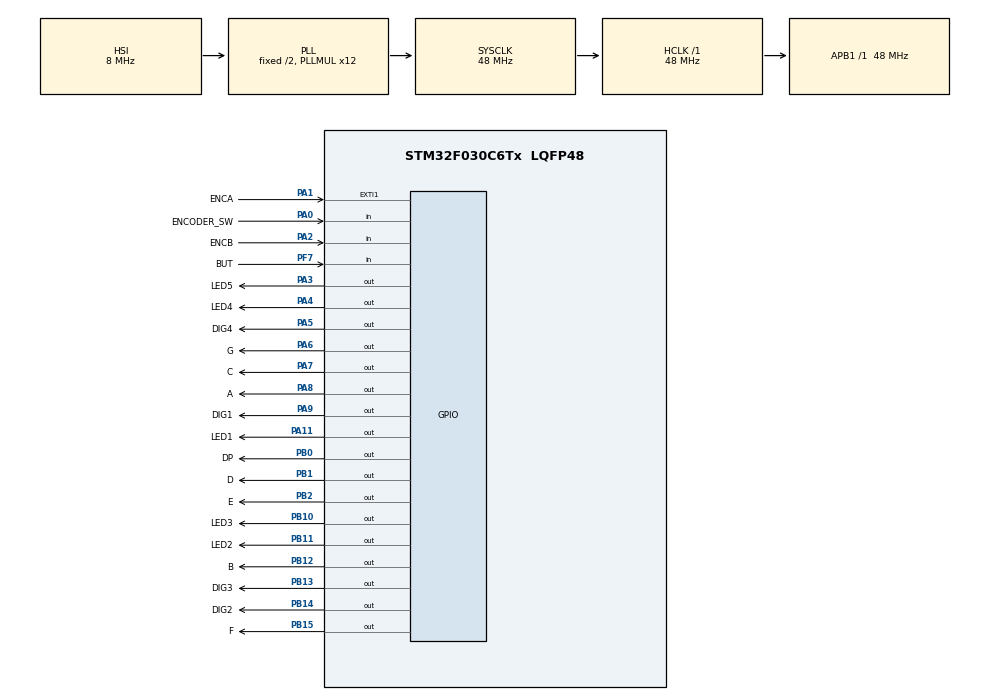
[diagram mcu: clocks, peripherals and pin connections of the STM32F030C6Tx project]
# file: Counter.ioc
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Mcu.Family=STM32F0
Mcu.Name=STM32F030C6Tx
Mcu.Package=LQFP48
NVIC.EXTI0_1_IRQn=true\:0\:0\:false\:false\:true\:true\:true\:true
PA0.GPIO_Label=ENCODER_SW
PA0.Signal=GPIO_Input
PA1.GPIO_Label=ENCA
PA1.GPIO_ModeDefaultEXTI=GPIO_MODE_IT_RISING_FALLING
PA1.Signal=GPXTI1
PA11.GPIO_Label=LED1
PA11.Signal=GPIO_Output
PA13.Mode=Serial_Wire
PA13.Signal=SYS_SWDIO
PA14.Mode=Serial_Wire
PA14.Signal=SYS_SWCLK
PA2.GPIO_Label=ENCB
PA2.Signal=GPIO_Input
PA3.GPIO_Label=LED5
PA3.Signal=GPIO_Output
PA4.GPIO_Label=LED4
PA4.Signal=GPIO_Output
PA5.GPIO_Label=DIG4
PA5.Signal=GPIO_Output
PA6.GPIO_Label=G
PA6.Signal=GPIO_Output
PA7.GPIO_Label=C
PA7.Signal=GPIO_Output
PA8.GPIO_Label=A
PA8.Signal=GPIO_Output
PA9.GPIO_Label=DIG1
PA9.Signal=GPIO_Output
PB0.GPIO_Label=DP
PB0.Signal=GPIO_Output
PB1.GPIO_Label=D
PB1.Signal=GPIO_Output
PB10.GPIO_Label=LED3
PB10.Signal=GPIO_Output
PB11.GPIO_Label=LED2
PB11.Signal=GPIO_Output
PB12.GPIO_Label=B
PB12.Signal=GPIO_Output
PB13.GPIO_Label=DIG3
PB13.Signal=GPIO_Output
PB14.GPIO_Label=DIG2
PB14.Signal=GPIO_Output
PB15.GPIO_Label=F
PB15.Signal=GPIO_Output
PB2.GPIO_Label=E
PB2.Signal=GPIO_Output
PF0-OSC_IN.Mode=HSE-External-Oscillator
PF0-OSC_IN.Signal=RCC_OSC_IN
PF1-OSC_OUT.Mode=HSE-External-Oscillator
PF1-OSC_OUT.Signal=RCC_OSC_OUT
PF7.GPIO_Label=BUT
PF7.Signal=GPIO_Input
ProjectManager.HeapSize=0x200
ProjectManager.StackSize=0x400
ProjectManager.TargetToolchain=STM32CubeIDE
RCC.AHBFreq_Value=48000000
RCC.APB1Freq_Value=48000000
RCC.APB1TimFreq_Value=48000000
RCC.HCLKFreq_Value=48000000
RCC.PLLMUL=RCC_PLL_MUL12
RCC.SYSCLKFreq_VALUE=48000000
RCC.SYSCLKSource=RCC_SYSCLKSOURCE_PLLCLK
board=custom

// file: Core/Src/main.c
/* USER CODE BEGIN Header */
/**
  ******************************************************************************
  * @file           : main.c
  * @brief          : Main program body
  ******************************************************************************
  * @attention
  *
  * Copyright (c) 2022 STMicroelectronics.
  * All rights reserved.
  *
  * This software is licensed under terms that can be found in the LICENSE file
  * in the root directory of this software component.
  * If no LICENSE file comes with this software, it is provided AS-IS.
  *
  ******************************************************************************
  */
/* USER CODE END Header */
#include "main.h"

void SystemClock_Config(void);
static void MX_GPIO_Init(void);

int main(void)
{

  /* MCU Configuration--------------------------------------------------------*/

  /* Reset of all peripherals, Initializes the Flash interface and the Systick. */
  HAL_Init();

  /* Configure the system clock */
  SystemClock_Config();

  /* Initialize all configured peripherals */
  MX_GPIO_Init();
  /* USER CODE BEGIN 2 */
  extern int c;
  int x=0;
  int a=1;
  int s=0;
  int q=0;
  int w=0;
  HAL_GPIO_WritePin(GPIOA, LED1_Pin|LED4_Pin|LED5_Pin, GPIO_PIN_SET);
  HAL_GPIO_WritePin(GPIOB, LED3_Pin|LED2_Pin, GPIO_PIN_SET);
  /* USER CODE END 2 */

  /* Infinite loop */
  /* USER CODE BEGIN WHILE */
  while (1)
  {
	  if(a==6){
	  		  a=1;
	  	  	  }
	  	  	 if(s==0)
	  	  	 {
	  	  		HAL_GPIO_WritePin(GPIOA, A_Pin|C_Pin|G_Pin, GPIO_PIN_RESET);
	  	  		HAL_GPIO_WritePin(GPIOB, F_Pin|B_Pin|E_Pin|D_Pin|DP_Pin, GPIO_PIN_RESET);
	  	  		HAL_GPIO_WritePin(GPIOB, DIG2_Pin|DIG3_Pin, GPIO_PIN_RESET);
	  	  		HAL_GPIO_WritePin(GPIOA, DIG4_Pin|DIG1_Pin, GPIO_PIN_RESET);
	  	  		HAL_GPIO_WritePin(GPIOA, DIG1_Pin, GPIO_PIN_SET);
	  	  		HAL_GPIO_WritePin(GPIOA, A_Pin|C_Pin|G_Pin, GPIO_PIN_SET);
	  	  		HAL_GPIO_WritePin(GPIOB, F_Pin|B_Pin|E_Pin|D_Pin, GPIO_PIN_SET);
	  	  		HAL_Delay(250);
	  	  		HAL_GPIO_WritePin(GPIOA, A_Pin|C_Pin|G_Pin, GPIO_PIN_RESET);
	  	  		HAL_GPIO_WritePin(GPIOB, F_Pin|B_Pin|E_Pin|D_Pin|DP_Pin, GPIO_PIN_RESET);
	  	  		HAL_GPIO_WritePin(GPIOB, DIG2_Pin|DIG3_Pin, GPIO_PIN_RESET);
	  	  		HAL_GPIO_WritePin(GPIOA, DIG4_Pin|DIG1_Pin, GPIO_PIN_RESET);
	  	  		HAL_GPIO_WritePin(GPIOB, DIG2_Pin, GPIO_PIN_SET);
	  	  		HAL_GPIO_WritePin(GPIOA, A_Pin|C_Pin|G_Pin, GPIO_PIN_SET);
	  	  		HAL_GPIO_WritePin(GPIOB, F_Pin|B_Pin|E_Pin|D_Pin, GPIO_PIN_SET);
	  	  		HAL_Delay(250);
	  	  		HAL_GPIO_WritePin(GPIOA, A_Pin|C_Pin|G_Pin, GPIO_PIN_RESET);
	  	  		HAL_GPIO_WritePin(GPIOB, F_Pin|B_Pin|E_Pin|D_Pin|DP_Pin, GPIO_PIN_RESET);
	  	  		HAL_GPIO_WritePin(GPIOB, DIG2_Pin|DIG3_Pin, GPIO_PIN_RESET);
	  	  		HAL_GPIO_WritePin(GPIOA, DIG4_Pin|DIG1_Pin, GPIO_PIN_RESET);
	  	  		HAL_GPIO_WritePin(GPIOB, DIG3_Pin, GPIO_PIN_SET);
	  	  		HAL_GPIO_WritePin(GPIOA, A_Pin|C_Pin|G_Pin, GPIO_PIN_SET);
	  	  		HAL_GPIO_WritePin(GPIOB, F_Pin|B_Pin|E_Pin|D_Pin, GPIO_PIN_SET);
	  	  		HAL_Delay(250);
	  	  		HAL_GPIO_WritePin(GPIOA, A_Pin|C_Pin|G_Pin, GPIO_PIN_RESET);
	  	  		HAL_GPIO_WritePin(GPIOB, F_Pin|B_Pin|E_Pin|D_Pin|DP_Pin, GPIO_PIN_RESET);
	  	  		HAL_GPIO_WritePin(GPIOB, DIG2_Pin|DIG3_Pin, GPIO_PIN_RESET);
	  	  		HAL_GPIO_WritePin(GPIOA, DIG4_Pin|DIG1_Pin, GPIO_PIN_RESET);
	  	  		HAL_GPIO_WritePin(GPIOA, DIG4_Pin, GPIO_PIN_SET);
	  	  		HAL_GPIO_WritePin(GPIOA, A_Pin|C_Pin|G_Pin, GPIO_PIN_SET);
	  	  		HAL_GPIO_WritePin(GPIOB, F_Pin|B_Pin|E_Pin|D_Pin, GPIO_PIN_SET);
	  	  		HAL_Delay(250);
	  	  		s++;
	  	  	 }
	  	  if(HAL_GPIO_ReadPin(GPIOF, BUT_Pin)== GPIO_PIN_RESET)
	  	  		  	  {
	  		    HAL_GPIO_WritePin(GPIOB, DIG2_Pin|DIG3_Pin, GPIO_PIN_RESET);
	  	  		HAL_GPIO_WritePin(GPIOA, DIG4_Pin|DIG1_Pin, GPIO_PIN_RESET);
	  	  		q++;
	  	  		HAL_Delay(1000);
	  	  		  		if(HAL_GPIO_ReadPin(GPIOF, BUT_Pin)== GPIO_PIN_RESET){
	  	  	  	  		HAL_GPIO_WritePin(GPIOA, A_Pin|C_Pin|G_Pin, GPIO_PIN_RESET);
	  	  	  	  		HAL_GPIO_WritePin(GPIOB, F_Pin|B_Pin|E_Pin|D_Pin|DP_Pin, GPIO_PIN_RESET);
	  		  	  		HAL_GPIO_WritePin(GPIOB, DIG2_Pin|DIG3_Pin, GPIO_PIN_RESET);
	  		  	  		HAL_GPIO_WritePin(GPIOA, DIG4_Pin|DIG1_Pin, GPIO_PIN_RESET);
	  		  	  		HAL_GPIO_WritePin(GPIOA, DIG1_Pin, GPIO_PIN_SET);
	  		  	  		HAL_GPIO_WritePin(GPIOA, A_Pin|G_Pin, GPIO_PIN_SET);
	  		  	  		HAL_GPIO_WritePin(GPIOB, F_Pin|B_Pin|E_Pin, GPIO_PIN_SET);
	  		  		  	HAL_Delay(250);
	  		  	  		HAL_GPIO_WritePin(GPIOA, A_Pin|C_Pin|G_Pin, GPIO_PIN_RESET);
	  		  	  		HAL_GPIO_WritePin(GPIOB, F_Pin|B_Pin|E_Pin|D_Pin|DP_Pin, GPIO_PIN_RESET);
	  		  	  		HAL_GPIO_WritePin(GPIOB, DIG2_Pin|DIG3_Pin, GPIO_PIN_RESET);
	  		  	  		HAL_GPIO_WritePin(GPIOA, DIG4_Pin|DIG1_Pin, GPIO_PIN_RESET);
	  		  	  		HAL_GPIO_WritePin(GPIOB, DIG2_Pin, GPIO_PIN_SET);
	  		  	  		HAL_GPIO_WritePin(GPIOB, F_Pin|E_Pin|D_Pin, GPIO_PIN_SET);
	  		  		  	HAL_Delay(250);
	  		  	  		HAL_GPIO_WritePin(GPIOA, A_Pin|C_Pin|G_Pin, GPIO_PIN_RESET);
	  		  	  		HAL_GPIO_WritePin(GPIOB, F_Pin|B_Pin|E_Pin|D_Pin|DP_Pin, GPIO_PIN_RESET);
	  		  	  		HAL_GPIO_WritePin(GPIOB, DIG2_Pin|DIG3_Pin, GPIO_PIN_RESET);
	  		  	  		HAL_GPIO_WritePin(GPIOA, DIG4_Pin|DIG1_Pin, GPIO_PIN_RESET);
	  		  	  		HAL_GPIO_WritePin(GPIOB, DIG3_Pin, GPIO_PIN_SET);
	  		  	  		HAL_GPIO_WritePin(GPIOA, C_Pin, GPIO_PIN_SET);
	  		  	  		HAL_GPIO_WritePin(GPIOB, F_Pin|B_Pin|E_Pin|D_Pin, GPIO_PIN_SET);
	  		  		  	HAL_Delay(250);
	  		  	  		HAL_GPIO_WritePin(GPIOA, A_Pin|C_Pin|G_Pin, GPIO_PIN_RESET);
	  		  	  		HAL_GPIO_WritePin(GPIOB, F_Pin|B_Pin|E_Pin|D_Pin|DP_Pin, GPIO_PIN_RESET);
	  		  	  		HAL_GPIO_WritePin(GPIOB, DIG2_Pin|DIG3_Pin, GPIO_PIN_RESET);
	  		  	  		HAL_GPIO_WritePin(GPIOA, DIG4_Pin|DIG1_Pin, GPIO_PIN_RESET);
	  		  	  		HAL_GPIO_WritePin(GPIOA, DIG4_Pin, GPIO_PIN_SET);
	  		  	  		HAL_GPIO_WritePin(GPIOA, A_Pin|C_Pin|G_Pin, GPIO_PIN_SET);
	  		  	  		HAL_GPIO_WritePin(GPIOB, D_Pin|F_Pin, GPIO_PIN_SET);
	  	  		  		HAL_Delay(250);
	  	  		  			a++;
	  	  		  		}
	  	  		  	  }

	  	  if(q>w){
	  		  w++;
	  		  c=0;
	  	  }
      x=c/a;
  HAL_GPIO_WritePin(GPIOA, A_Pin|C_Pin|G_Pin, GPIO_PIN_RESET);
  HAL_GPIO_WritePin(GPIOB, F_Pin|B_Pin|E_Pin|D_Pin|DP_Pin, GPIO_PIN_RESET);
  HAL_GPIO_WritePin(GPIOB, DIG2_Pin|DIG3_Pin, GPIO_PIN_RESET);
  HAL_GPIO_WritePin(GPIOA, DIG4_Pin|DIG1_Pin, GPIO_PIN_RESET);
  HAL_GPIO_WritePin(GPIOA, DIG4_Pin, GPIO_PIN_SET);
  switch(x%10)
  	  	  {
  	  	  case 0:
  	  		HAL_GPIO_WritePin(GPIOA, A_Pin|C_Pin, GPIO_PIN_SET);
  	  		HAL_GPIO_WritePin(GPIOB, F_Pin|B_Pin|E_Pin|D_Pin, GPIO_PIN_SET);

  	  	 	  	  break;
  	  	  case 1:
  	  		HAL_GPIO_WritePin(GPIOA, C_Pin, GPIO_PIN_SET);
  	  		HAL_GPIO_WritePin(GPIOB, B_Pin, GPIO_PIN_SET);
  	  	  	      break;
  	  	  case 2:
  	  		HAL_GPIO_WritePin(GPIOA, A_Pin|G_Pin, GPIO_PIN_SET);
  	  		HAL_GPIO_WritePin(GPIOB, B_Pin|E_Pin|D_Pin, GPIO_PIN_SET);
  	  	  	  	  break;
  	  	  case 3:
  	  		HAL_GPIO_WritePin(GPIOA, A_Pin|C_Pin|G_Pin, GPIO_PIN_SET);
  	  		HAL_GPIO_WritePin(GPIOB, B_Pin|D_Pin, GPIO_PIN_SET);
  	  	 	  	  break;
  	  	  case 4:
  	  		HAL_GPIO_WritePin(GPIOA, C_Pin|G_Pin, GPIO_PIN_SET);
  	  		HAL_GPIO_WritePin(GPIOB, F_Pin|B_Pin, GPIO_PIN_SET);
  	  			break;
  	  	  case 5:
  	  	  	  HAL_GPIO_WritePin(GPIOA, A_Pin|C_Pin|G_Pin, GPIO_PIN_SET);
  	  	  	  HAL_GPIO_WritePin(GPIOB, F_Pin|D_Pin, GPIO_PIN_SET);
  	  	  	  	  break;
  	  	  case 6:
  	  		 HAL_GPIO_WritePin(GPIOA, A_Pin|C_Pin|G_Pin, GPIO_PIN_SET);
  	  		 HAL_GPIO_WritePin(GPIOB, F_Pin|E_Pin|D_Pin, GPIO_PIN_SET);
  	  		 	 break;
  	  	  case 7:
  	  		HAL_GPIO_WritePin(GPIOA, A_Pin|C_Pin, GPIO_PIN_SET);
  	  		HAL_GPIO_WritePin(GPIOB, B_Pin, GPIO_PIN_SET);
  	  	 	  	  break;
  	  	  case 8:
	  	  		HAL_GPIO_WritePin(GPIOA, A_Pin|C_Pin|G_Pin, GPIO_PIN_SET);
	  	  		HAL_GPIO_WritePin(GPIOB, F_Pin|B_Pin|E_Pin|D_Pin, GPIO_PIN_SET);
  	  	 	  	  break;
  	  	  case 9:
  	  		HAL_GPIO_WritePin(GPIOA, A_Pin|C_Pin|G_Pin, GPIO_PIN_SET);
  	  		HAL_GPIO_WritePin(GPIOB, F_Pin|B_Pin|D_Pin, GPIO_PIN_SET);
  	  	 	  	  break;
  	  	  }
  	  	 	 HAL_Delay(4);
  	  HAL_GPIO_WritePin(GPIOA, A_Pin|C_Pin|G_Pin, GPIO_PIN_RESET);
  	  HAL_GPIO_WritePin(GPIOB, F_Pin|B_Pin|E_Pin|D_Pin|DP_Pin, GPIO_PIN_RESET);
	  HAL_GPIO_WritePin(GPIOB, DIG2_Pin|DIG3_Pin, GPIO_PIN_RESET);
	  HAL_GPIO_WritePin(GPIOA, DIG4_Pin|DIG1_Pin, GPIO_PIN_RESET);
	  HAL_GPIO_WritePin(GPIOB, DIG3_Pin, GPIO_PIN_SET);
	  switch(x%100/10)
	  	  {
	  	  case 0:
	  		HAL_GPIO_WritePin(GPIOA, A_Pin|C_Pin, GPIO_PIN_SET);
	  		HAL_GPIO_WritePin(GPIOB, F_Pin|B_Pin|E_Pin|D_Pin, GPIO_PIN_SET);

	  	 	  	  break;
	  	  case 1:
	  		HAL_GPIO_WritePin(GPIOA, C_Pin, GPIO_PIN_SET);
	  		HAL_GPIO_WritePin(GPIOB, B_Pin, GPIO_PIN_SET);
	  	  	      break;
	  	  case 2:
	  		HAL_GPIO_WritePin(GPIOA, A_Pin|G_Pin, GPIO_PIN_SET);
	  		HAL_GPIO_WritePin(GPIOB, B_Pin|E_Pin|D_Pin, GPIO_PIN_SET);
	  	  	  	  break;
	  	  case 3:
	  		HAL_GPIO_WritePin(GPIOA, A_Pin|C_Pin|G_Pin, GPIO_PIN_SET);
	  		HAL_GPIO_WritePin(GPIOB, B_Pin|D_Pin, GPIO_PIN_SET);
	  	 	  	  break;
	  	  case 4:
	  		HAL_GPIO_WritePin(GPIOA, C_Pin|G_Pin, GPIO_PIN_SET);
	  		HAL_GPIO_WritePin(GPIOB, F_Pin|B_Pin, GPIO_PIN_SET);
	  			break;
	  	  case 5:
	  	  	  HAL_GPIO_WritePin(GPIOA, A_Pin|C_Pin|G_Pin, GPIO_PIN_SET);
	  	  	  HAL_GPIO_WritePin(GPIOB, F_Pin|D_Pin, GPIO_PIN_SET);
	  	  	  	  break;
	  	  case 6:
	  		 HAL_GPIO_WritePin(GPIOA, A_Pin|C_Pin|G_Pin, GPIO_PIN_SET);
	  		 HAL_GPIO_WritePin(GPIOB, F_Pin|E_Pin|D_Pin, GPIO_PIN_SET);
	  		 	 break;
	  	  case 7:
	  		HAL_GPIO_WritePin(GPIOA, C_Pin, GPIO_PIN_SET);
	  		HAL_GPIO_WritePin(GPIOB,A_Pin|B_Pin, GPIO_PIN_SET);

	  		HAL_GPIO_WritePin(GPIOA, A_Pin|C_Pin, GPIO_PIN_SET);
	  		HAL_GPIO_WritePin(GPIOB, B_Pin, GPIO_PIN_SET);
	  	 	  	  break;
	  	  case 8:
  	  		HAL_GPIO_WritePin(GPIOA, A_Pin|C_Pin|G_Pin, GPIO_PIN_SET);
  	  		HAL_GPIO_WritePin(GPIOB, F_Pin|B_Pin|E_Pin|D_Pin, GPIO_PIN_SET);
	  	 	  	  break;
	  	  case 9:
	  		HAL_GPIO_WritePin(GPIOA, A_Pin|C_Pin|G_Pin, GPIO_PIN_SET);
	  		HAL_GPIO_WritePin(GPIOB, F_Pin|B_Pin|D_Pin, GPIO_PIN_SET);
	  	 	  	  break;
	  	  }
	  	  	 	 HAL_Delay(4);
   	  		  HAL_GPIO_WritePin(GPIOA, A_Pin|C_Pin|G_Pin, GPIO_PIN_RESET);
   	  		  HAL_GPIO_WritePin(GPIOB, F_Pin|B_Pin|E_Pin|D_Pin|DP_Pin, GPIO_PIN_RESET);
	  		  HAL_GPIO_WritePin(GPIOB, DIG2_Pin|DIG3_Pin, GPIO_PIN_RESET);
	  		  HAL_GPIO_WritePin(GPIOA, DIG4_Pin|DIG1_Pin, GPIO_PIN_RESET);
	  		  HAL_GPIO_WritePin(GPIOB, DIG2_Pin, GPIO_PIN_SET);
	  		  switch(x%1000/100)
		  	  {
		  	  case 0:
		  		HAL_GPIO_WritePin(GPIOA, A_Pin|C_Pin, GPIO_PIN_SET);
		  		HAL_GPIO_WritePin(GPIOB, F_Pin|B_Pin|E_Pin|D_Pin, GPIO_PIN_SET);

		  	 	  	  break;
		  	  case 1:
		  		HAL_GPIO_WritePin(GPIOA, C_Pin, GPIO_PIN_SET);
		  		HAL_GPIO_WritePin(GPIOB, B_Pin, GPIO_PIN_SET);
		  	  	      break;
		  	  case 2:
		  		HAL_GPIO_WritePin(GPIOA, A_Pin|G_Pin, GPIO_PIN_SET);
		  		HAL_GPIO_WritePin(GPIOB, B_Pin|E_Pin|D_Pin, GPIO_PIN_SET);
		  	  	  	  break;
		  	  case 3:
		  		HAL_GPIO_WritePin(GPIOA, A_Pin|C_Pin|G_Pin, GPIO_PIN_SET);
		  		HAL_GPIO_WritePin(GPIOB, B_Pin|D_Pin, GPIO_PIN_SET);
		  	 	  	  break;
		  	  case 4:
		  		HAL_GPIO_WritePin(GPIOA, C_Pin|G_Pin, GPIO_PIN_SET);
		  		HAL_GPIO_WritePin(GPIOB, F_Pin|B_Pin, GPIO_PIN_SET);
		  			break;
		  	  case 5:
		  	  	  HAL_GPIO_WritePin(GPIOA, A_Pin|C_Pin|G_Pin, GPIO_PIN_SET);
		  	  	  HAL_GPIO_WritePin(GPIOB, F_Pin|D_Pin, GPIO_PIN_SET);
		  	  	  	  break;
		  	  case 6:
		  		 HAL_GPIO_WritePin(GPIOA, A_Pin|C_Pin|G_Pin, GPIO_PIN_SET);
		  		 HAL_GPIO_WritePin(GPIOB, F_Pin|E_Pin|D_Pin, GPIO_PIN_SET);
		  		 	 break;
		  	  case 7:
		  		HAL_GPIO_WritePin(GPIOA, A_Pin|C_Pin, GPIO_PIN_SET);
		  		HAL_GPIO_WritePin(GPIOB, B_Pin, GPIO_PIN_SET);
		  	 	  	  break;
		  	  case 8:
	  	  		HAL_GPIO_WritePin(GPIOA, A_Pin|C_Pin|G_Pin, GPIO_PIN_SET);
	  	  		HAL_GPIO_WritePin(GPIOB, F_Pin|B_Pin|E_Pin|D_Pin, GPIO_PIN_SET);
		  	 	  	  break;
		  	  case 9:
		  		HAL_GPIO_WritePin(GPIOA, A_Pin|C_Pin|G_Pin, GPIO_PIN_SET);
		  		HAL_GPIO_WritePin(GPIOB, F_Pin|B_Pin|D_Pin, GPIO_PIN_SET);
		  	 	  	  break;
		  	  }
	  		  	  	 	 HAL_Delay(5);
	   		  HAL_GPIO_WritePin(GPIOA, A_Pin|C_Pin|G_Pin, GPIO_PIN_RESET);
	   		  HAL_GPIO_WritePin(GPIOB, F_Pin|B_Pin|E_Pin|D_Pin|DP_Pin, GPIO_PIN_RESET);
	  	  	  HAL_GPIO_WritePin(GPIOB, DIG2_Pin|DIG3_Pin, GPIO_PIN_RESET);
	  	  	  HAL_GPIO_WritePin(GPIOA, DIG4_Pin|DIG1_Pin, GPIO_PIN_RESET);
	  	  	  HAL_GPIO_WritePin(GPIOA, DIG1_Pin, GPIO_PIN_SET);
	  	  	  switch(x/1000)
		  	  {
		  	  case 0:
		  		HAL_GPIO_WritePin(GPIOA, A_Pin|C_Pin, GPIO_PIN_SET);
		  		HAL_GPIO_WritePin(GPIOB, F_Pin|B_Pin|E_Pin|D_Pin, GPIO_PIN_SET);

		  	 	  	  break;
		  	  case 1:
		  		HAL_GPIO_WritePin(GPIOA, C_Pin, GPIO_PIN_SET);
		  		HAL_GPIO_WritePin(GPIOB, B_Pin, GPIO_PIN_SET);
		  	  	      break;
		  	  case 2:
		  		HAL_GPIO_WritePin(GPIOA, A_Pin|G_Pin, GPIO_PIN_SET);
		  		HAL_GPIO_WritePin(GPIOB, B_Pin|E_Pin|D_Pin, GPIO_PIN_SET);
		  	  	  	  break;
		  	  case 3:
		  		HAL_GPIO_WritePin(GPIOA, A_Pin|C_Pin|G_Pin, GPIO_PIN_SET);
		  		HAL_GPIO_WritePin(GPIOB, B_Pin|D_Pin, GPIO_PIN_SET);
		  	 	  	  break;
		  	  case 4:
		  		HAL_GPIO_WritePin(GPIOA, C_Pin|G_Pin, GPIO_PIN_SET);
		  		HAL_GPIO_WritePin(GPIOB, F_Pin|B_Pin, GPIO_PIN_SET);
		  			break;
		  	  case 5:
		  	  	  HAL_GPIO_WritePin(GPIOA, A_Pin|C_Pin|G_Pin, GPIO_PIN_SET);
		  	  	  HAL_GPIO_WritePin(GPIOB, F_Pin|D_Pin, GPIO_PIN_SET);
		  	  	  	  break;
		  	  case 6:
		  		 HAL_GPIO_WritePin(GPIOA, A_Pin|C_Pin|G_Pin, GPIO_PIN_SET);
		  		 HAL_GPIO_WritePin(GPIOB, F_Pin|E_Pin|D_Pin, GPIO_PIN_SET);
		  		 	 break;
		  	  case 7:
		  		HAL_GPIO_WritePin(GPIOA, C_Pin, GPIO_PIN_SET);
		  		HAL_GPIO_WritePin(GPIOB,A_Pin|B_Pin, GPIO_PIN_SET);

		  		HAL_GPIO_WritePin(GPIOA, A_Pin|C_Pin, GPIO_PIN_SET);
		  		HAL_GPIO_WritePin(GPIOB, B_Pin, GPIO_PIN_SET);
		  	 	  	  break;
		  	  case 8:
	  	  		HAL_GPIO_WritePin(GPIOA, A_Pin|C_Pin|G_Pin, GPIO_PIN_SET);
	  	  		HAL_GPIO_WritePin(GPIOB, F_Pin|B_Pin|E_Pin|D_Pin, GPIO_PIN_SET);
		  	 	  	  break;
		  	  case 9:
		  		HAL_GPIO_WritePin(GPIOA, A_Pin|C_Pin|G_Pin, GPIO_PIN_SET);
		  		HAL_GPIO_WritePin(GPIOB, F_Pin|B_Pin|D_Pin, GPIO_PIN_SET);
		  	 	  	  break;
		  	  }
	  	  	  	  	 	 HAL_Delay(4);
	  	  	  	   HAL_GPIO_WritePin(GPIOA, LED1_Pin|LED4_Pin|LED5_Pin, GPIO_PIN_SET);
	  	  	  	   HAL_GPIO_WritePin(GPIOB, LED3_Pin|LED2_Pin, GPIO_PIN_SET);
	  	  	  	   switch(a)
	  	  	  	  	 	 {
	  	  	  	 	  case 1:
	  	  	  	 		  HAL_GPIO_WritePin(GPIOA, LED1_Pin, GPIO_PIN_RESET);
	  	  	  	 		  break;
	  	  	  	 	  case 2:
	  	  	  	 		  HAL_GPIO_WritePin(GPIOA, LED1_Pin, GPIO_PIN_RESET);
	  	  	  	 		  HAL_GPIO_WritePin(GPIOB, LED2_Pin, GPIO_PIN_RESET);
	  	  	  	 	  		  break;
	  	  	  	 	  case 3:
	  	  	  	 		  HAL_GPIO_WritePin(GPIOA, LED1_Pin, GPIO_PIN_RESET);
	  	  	  	 		  HAL_GPIO_WritePin(GPIOB, LED3_Pin|LED2_Pin, GPIO_PIN_RESET);
	  	  	  	 	  		  break;
	  	  	  	 	  case 4:
	  	  	  		      HAL_GPIO_WritePin(GPIOA, LED1_Pin|LED4_Pin, GPIO_PIN_RESET);
	  	  	  	 		  HAL_GPIO_WritePin(GPIOB, LED3_Pin|LED2_Pin, GPIO_PIN_RESET);
	  	  	  	 		      break;
	  	  	  	 	  case 5:
	  	  	  		      HAL_GPIO_WritePin(GPIOA, LED1_Pin|LED4_Pin|LED5_Pin, GPIO_PIN_RESET);
	  	  	  	 		  HAL_GPIO_WritePin(GPIOB, LED3_Pin|LED2_Pin, GPIO_PIN_RESET);
	  	  		  	  	  	  break;
	  	  	  	  	 	 }

    /* USER CODE END WHILE */

  }
}

void SystemClock_Config(void)
{
  RCC_OscInitTypeDef RCC_OscInitStruct = {0};
  RCC_ClkInitTypeDef RCC_ClkInitStruct = {0};

  /** Initializes the RCC Oscillators according to the specified parameters
  * in the RCC_OscInitTypeDef structure.
  */
  RCC_OscInitStruct.OscillatorType = RCC_OSCILLATORTYPE_HSI;
  RCC_OscInitStruct.HSIState = RCC_HSI_ON;
  RCC_OscInitStruct.HSICalibrationValue = RCC_HSICALIBRATION_DEFAULT;
  RCC_OscInitStruct.PLL.PLLState = RCC_PLL_ON;
  RCC_OscInitStruct.PLL.PLLSource = RCC_PLLSOURCE_HSI;
  RCC_OscInitStruct.PLL.PLLMUL = RCC_PLL_MUL12;
  RCC_OscInitStruct.PLL.PREDIV = RCC_PREDIV_DIV1;
  if (HAL_RCC_OscConfig(&RCC_OscInitStruct) != HAL_OK)
  {
    Error_Handler();
  }

  /** Initializes the CPU, AHB and APB buses clocks
  */
  RCC_ClkInitStruct.ClockType = RCC_CLOCKTYPE_HCLK|RCC_CLOCKTYPE_SYSCLK
                              |RCC_CLOCKTYPE_PCLK1;
  RCC_ClkInitStruct.SYSCLKSource = RCC_SYSCLKSOURCE_PLLCLK;
  RCC_ClkInitStruct.AHBCLKDivider = RCC_SYSCLK_DIV1;
  RCC_ClkInitStruct.APB1CLKDivider = RCC_HCLK_DIV1;

  if (HAL_RCC_ClockConfig(&RCC_ClkInitStruct, FLASH_LATENCY_1) != HAL_OK)
  {
    Error_Handler();
  }
}

static void MX_GPIO_Init(void)
{
  GPIO_InitTypeDef GPIO_InitStruct = {0};

  /* GPIO Ports Clock Enable */
  __HAL_RCC_GPIOF_CLK_ENABLE();
  __HAL_RCC_GPIOA_CLK_ENABLE();
  __HAL_RCC_GPIOB_CLK_ENABLE();

  /*Configure GPIO pin Output Level */
  HAL_GPIO_WritePin(GPIOA, LED5_Pin|LED4_Pin|DIG4_Pin|G_Pin
                          |C_Pin|A_Pin|DIG1_Pin|LED1_Pin, GPIO_PIN_RESET);

  /*Configure GPIO pin Output Level */
  HAL_GPIO_WritePin(GPIOB, DP_Pin|D_Pin|E_Pin|LED3_Pin
                          |LED2_Pin|B_Pin|DIG3_Pin|DIG2_Pin
                          |F_Pin, GPIO_PIN_RESET);

  /*Configure GPIO pins : ENCODER_SW_Pin ENCB_Pin */
  GPIO_InitStruct.Pin = ENCODER_SW_Pin|ENCB_Pin;
  GPIO_InitStruct.Mode = GPIO_MODE_INPUT;
  GPIO_InitStruct.Pull = GPIO_NOPULL;
  HAL_GPIO_Init(GPIOA, &GPIO_InitStruct);

  /*Configure GPIO pin : ENCA_Pin */
  GPIO_InitStruct.Pin = ENCA_Pin;
  GPIO_InitStruct.Mode = GPIO_MODE_IT_RISING_FALLING;
  GPIO_InitStruct.Pull = GPIO_NOPULL;
  HAL_GPIO_Init(ENCA_GPIO_Port, &GPIO_InitStruct);

  /*Configure GPIO pins : LED5_Pin LED4_Pin DIG4_Pin G_Pin
                           C_Pin A_Pin DIG1_Pin LED1_Pin */
  GPIO_InitStruct.Pin = LED5_Pin|LED4_Pin|DIG4_Pin|G_Pin
                          |C_Pin|A_Pin|DIG1_Pin|LED1_Pin;
  GPIO_InitStruct.Mode = GPIO_MODE_OUTPUT_PP;
  GPIO_InitStruct.Pull = GPIO_NOPULL;
  GPIO_InitStruct.Speed = GPIO_SPEED_FREQ_LOW;
  HAL_GPIO_Init(GPIOA, &GPIO_InitStruct);

  /*Configure GPIO pins : DP_Pin D_Pin E_Pin LED3_Pin
                           LED2_Pin B_Pin DIG3_Pin DIG2_Pin
                           F_Pin */
  GPIO_InitStruct.Pin = DP_Pin|D_Pin|E_Pin|LED3_Pin
                          |LED2_Pin|B_Pin|DIG3_Pin|DIG2_Pin
                          |F_Pin;
  GPIO_InitStruct.Mode = GPIO_MODE_OUTPUT_PP;
  GPIO_InitStruct.Pull = GPIO_NOPULL;
  GPIO_InitStruct.Speed = GPIO_SPEED_FREQ_LOW;
  HAL_GPIO_Init(GPIOB, &GPIO_InitStruct);

  /*Configure GPIO pin : BUT_Pin */
  GPIO_InitStruct.Pin = BUT_Pin;
  GPIO_InitStruct.Mode = GPIO_MODE_INPUT;
  GPIO_InitStruct.Pull = GPIO_NOPULL;
  HAL_GPIO_Init(BUT_GPIO_Port, &GPIO_InitStruct);

  /* EXTI interrupt init*/
  HAL_NVIC_SetPriority(EXTI0_1_IRQn, 0, 0);
  HAL_NVIC_EnableIRQ(EXTI0_1_IRQn);

}

void Error_Handler(void)
{
  __disable_irq();
  while (1)
  {
  }
}
